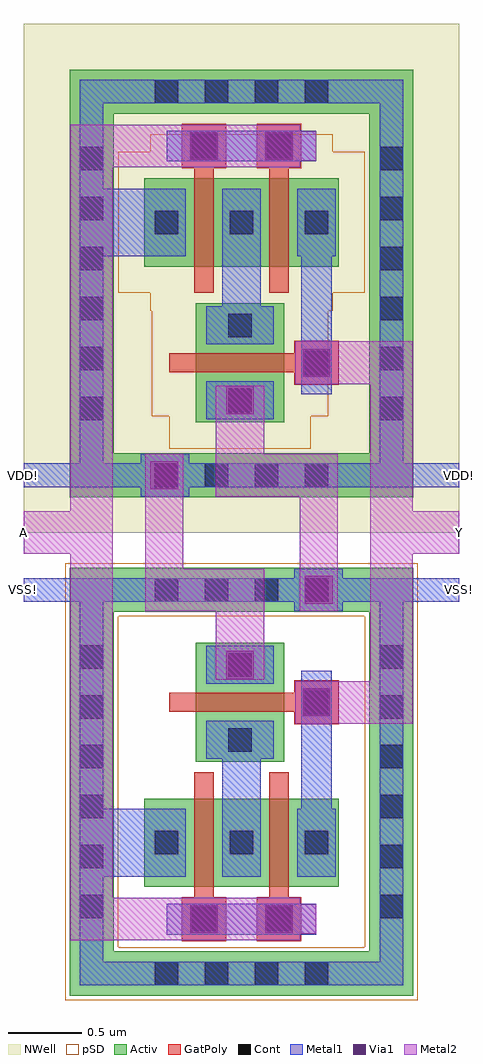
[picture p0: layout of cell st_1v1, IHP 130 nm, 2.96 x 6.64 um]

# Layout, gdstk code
import gdstk
lib = gdstk.Library(unit=1e-6, precision=1e-09)
def R(c, l, rs):  # rectangles x0, y0, x1, y1
    for r in rs: c.add(gdstk.rectangle(r[:2], r[2:], *l))
def A(c, l, x, y, w, h, nx, ny, dx, dy):  # array of equal rectangles
    R(c, l, [(x+i*dx, y+j*dy, x+i*dx+w, y+j*dy+h) for i in range(nx) for j in range(ny)])
Activ = (1, 0)
GatPoly = (5, 0)
Cont = (6, 0)
Metal1 = (8, 0)
Metal2 = (10, 0)
pSD = (14, 0)
Via1 = (19, 0)
NWell = (31, 0)

st_1v1 = lib.new_cell('st_1v1')
R(st_1v1, Activ, [(-0.15,-4.56,2.19,-4.26), (-0.15,-4.26,0.15,-1.95), (1.89,-4.26,2.19,-1.95), (0.36,-3.82,1.68,-3.22), (0.71,-2.97,1.31,-2.16), (-0.15,-1.95,2.19,-1.65), (-0.15,-1.17,2.19,-0.87), (-0.15,-0.87,0.15,1.44), (1.89,-0.87,2.19,1.44), (0.71,-0.66,1.31,0.15), (0.36,0.4,1.68,1), (-0.15,1.44,2.19,1.74)])
R(st_1v1, GatPoly, [(0.615,-4.19,0.915,-3.89), (1.125,-4.19,1.425,-3.89), (0.7,-3.89,0.83,-3.04), (1.21,-3.89,1.34,-3.04), (1.38,-2.715,1.68,-2.63), (0.53,-2.63,1.68,-2.5), (1.38,-2.5,1.68,-2.415), (1.38,-0.405,1.68,-0.32), (0.53,-0.32,1.68,-0.19), (1.38,-0.19,1.68,-0.105), (0.7,0.22,0.83,1.07), (1.21,0.22,1.34,1.07), (0.615,1.07,0.915,1.37), (1.125,1.07,1.425,1.37)])
A(st_1v1, Cont, 0.43, -4.49, 0.16, 0.16, 4, 2, 0.34, 2.61)
A(st_1v1, Cont, -0.08, -4.035, 0.16, 0.16, 1, 6, 0, 0.34)
A(st_1v1, Cont, 1.96, -4.035, 0.16, 0.16, 1, 6, 0, 0.34)
A(st_1v1, Cont, 0.43, -3.6, 0.16, 0.16, 3, 2, 0.51, 4.22)
A(st_1v1, Cont, 0.43, -1.1, 0.16, 0.16, 4, 2, 0.34, 2.61)
A(st_1v1, Cont, -0.08, -0.645, 0.16, 0.16, 1, 6, 0, 0.34)
A(st_1v1, Cont, 1.96, -0.645, 0.16, 0.16, 1, 6, 0, 0.34)
R(st_1v1, Cont, [(0.685,-4.12,0.845,-3.96), (1.195,-4.12,1.355,-3.96), (0.93,-2.9,1.09,-2.74), (1.45,-2.645,1.61,-2.485), (0.93,-2.39,1.09,-2.23), (0.93,-0.59,1.09,-0.43), (1.45,-0.335,1.61,-0.175), (0.93,-0.08,1.09,0.08), (0.685,1.14,0.845,1.3), (1.195,1.14,1.355,1.3)])
R(st_1v1, Metal1, [(-0.08,-4.49,2.12,-4.33), (-0.08,-4.33,0.08,-3.75), (1.96,-4.33,2.12,-1.88), (0.51,-4.145,1.53,-3.935), (-0.08,-3.75,0.64,-3.29), (0.89,-3.75,1.15,-2.95), (1.4,-3.75,1.66,-3.29), (-0.08,-3.29,0.08,-1.88), (1.425,-3.29,1.635,-2.35), (0.78,-2.95,1.24,-2.69), (0.78,-2.44,1.24,-2.18), (1.38,-1.945,1.71,-1.88), (-0.46,-1.88,2.5,-1.72), (1.38,-1.72,1.71,-1.655), (0.335,-1.165,0.665,-1.1), (-0.46,-1.1,2.5,-0.94), (-0.08,-0.94,0.08,0.47), (0.335,-0.94,0.665,-0.875), (1.96,-0.94,2.12,1.51), (0.78,-0.64,1.24,-0.38), (1.425,-0.47,1.635,0.47), (0.78,-0.13,1.24,0.13), (0.89,0.13,1.15,0.93), (-0.08,0.47,0.64,0.93), (1.4,0.47,1.66,0.93), (-0.08,0.93,0.08,1.51), (0.51,1.115,1.53,1.325), (-0.08,1.51,2.12,1.67)])
R(st_1v1, Metal2, [(-0.145,-4.185,1.42,-4.14), (-0.145,-4.14,1.53,-3.94), (-0.145,-3.94,1.42,-3.895), (-0.145,-3.895,0.145,-1.555), (1.385,-2.71,2.185,-2.42), (1.895,-2.42,2.185,-1.555), (0.845,-2.41,1.175,-1.945), (0.365,-1.945,1.175,-1.655), (1.415,-1.945,1.675,-1.165), (0.365,-1.655,0.625,-0.875), (-0.46,-1.555,0.145,-1.265), (1.895,-1.555,2.5,-1.265), (-0.145,-1.265,0.145,1.075), (1.895,-1.265,2.185,-0.4), (0.845,-1.165,1.675,-0.875), (0.845,-0.875,1.175,-0.41), (1.385,-0.4,2.185,-0.11), (-0.145,1.075,1.42,1.12), (-0.145,1.12,1.53,1.32), (-0.145,1.32,1.42,1.365)])
R(st_1v1, pSD, [(-0.18,-4.59,2.22,-4.23), (-0.18,-4.23,0.18,-1.98), (1.86,-4.23,2.22,-1.98), (-0.18,-1.98,2.22,-1.62), (0.53,-0.84,1.49,-0.62), (0.41,-0.62,1.61,0.1), (0.4,0.1,1.64,0.22), (0.18,0.22,1.86,1.18), (0.4,1.18,1.64,1.3)])
R(st_1v1, Via1, [(0.67,-4.135,0.86,-3.945), (1.18,-4.135,1.37,-3.945), (1.435,-2.66,1.625,-2.47), (0.915,-2.405,1.105,-2.215), (1.45,-1.895,1.64,-1.705), (0.4,-1.115,0.59,-0.925), (0.915,-0.605,1.105,-0.415), (1.435,-0.35,1.625,-0.16), (0.67,1.125,0.86,1.315), (1.18,1.125,1.37,1.315)])
R(st_1v1, NWell, [(-0.46,-1.41,2.5,2.05)])
st_1v1.add(gdstk.Label('A', (-0.46,-1.41), layer=10, texttype=25))
st_1v1.add(gdstk.Label('Y', (2.5,-1.41), layer=10, texttype=25))
st_1v1.add(gdstk.Label('VSS!', (-0.46,-1.8), layer=8, texttype=25))
st_1v1.add(gdstk.Label('VSS!', (2.5,-1.8), layer=8, texttype=25))
st_1v1.add(gdstk.Label('VDD!', (-0.46,-1.02), layer=8, texttype=25))
st_1v1.add(gdstk.Label('VDD!', (2.5,-1.02), layer=8, texttype=25))

lib.write_gds('st_1v1.gds')
